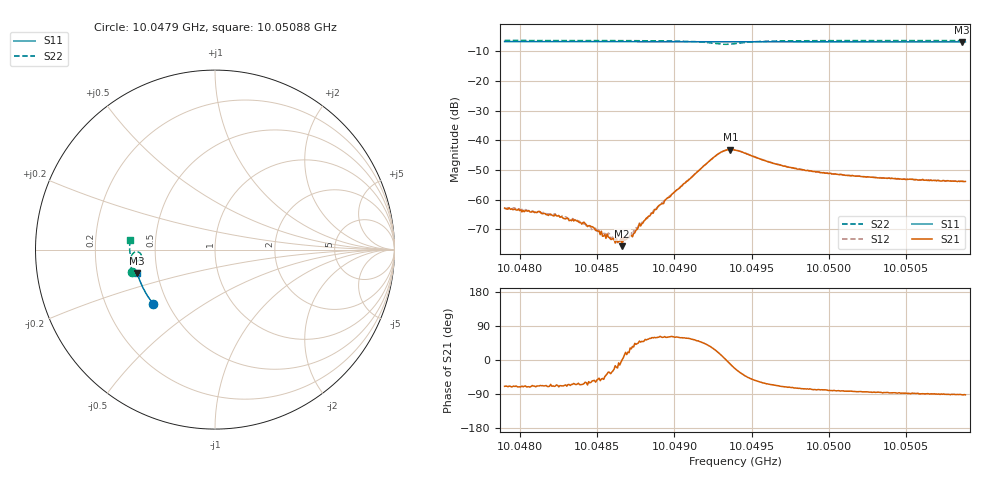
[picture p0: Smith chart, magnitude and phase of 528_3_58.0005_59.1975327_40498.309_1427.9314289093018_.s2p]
#  HZ  S  RI  R  50.00
! Rohde & Schwarz Vector Network Analyzer
! Rohde-Schwarz,ZNB20-2Port,1311601062101988,3.16
! Created: UTC 3/21/2024, 1:13:59 AM
! freq[Hz]  re:S11  im:S11  re:S21  im:S21  re:S12  im:S12  re:S22  im:S22
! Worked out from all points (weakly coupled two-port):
!   401 points, 10.0479 GHz to 10.05088 GHz, reference 50 ohm
!   highest |S21| = -43.12 dB at 10.04936 GHz (marker M1); lowest = -75.7 dB at 10.04866 GHz (marker M2)
!   lowest |S11| = -6.9 dB at 10.05086 GHz (marker M3), VSWR 2.65, Z = 19.2 - j6.32 ohm
!   |S11| at or under -10 dB: nowhere
!   |S22| runs from -7.7 to -6.4 dB; largest |S21 - S12| = 0.00049
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1.00479e10  -0.3436 -0.3016  0.000253 -0.000677  0.000301 -0.000629  -0.4614 -0.125
1.0047952e10  -0.3458 -0.299  0.000234 -0.000639  0.000281 -0.000657  -0.4621 -0.1215
1.0048161e10  -0.3545 -0.2882  0.000217 -0.000544  0.000214 -0.000564  -0.4653 -0.1071
1.0048288e10  -0.3594 -0.2816  0.000189 -0.000441  0.000223 -0.000461  -0.4668 -0.0979
1.00484e10  -0.3638 -0.2756  0.000165 -0.00035  0.000214 -0.000344  -0.4682 -0.0898
1.0048467e10  -0.3662 -0.272  0.0002 -0.000289  0.000183 -0.000245  -0.4687 -0.085
1.0048586e10  -0.3707 -0.2654  0.000176 -0.000129  0.000177 -0.000119  -0.4695 -0.0755
1.0048624e10  -0.3722 -0.2634  0.000211 -7.32e-05  0.000218 -7.93e-05  -0.4697 -0.0726
1.0048661e10  -0.3735 -0.2614  0.000165 1.13e-06  0.000221 2.47e-05  -0.4699 -0.0695
1.0048698e10  -0.3748 -0.2593  0.000219 8.33e-05  0.000214 7.84e-05  -0.47 -0.0664
1.0048736e10  -0.3762 -0.2572  0.000221 0.000151  0.000242 0.000174  -0.47 -0.0633
1.0048788e10  -0.3779 -0.2544  0.000254 0.000295  0.000236 0.000341  -0.4699 -0.0587
1.00489e10  -0.3819 -0.2482  0.00039 0.000695  0.000343 0.000704  -0.4689 -0.048
1.0049265e10  -0.3934 -0.2268  0.00485 0.00237  0.00473 0.00268  -0.4249 -0.0143
1.0049317e10  -0.3949 -0.224  0.00652 0.000804  0.00648 0.00119  -0.4116 -0.0282
1.0049362e10  -0.3962 -0.2218  0.00685 -0.00137  0.00694 -0.000892  -0.4117 -0.0467
1.0049392e10  -0.3971 -0.2202  0.00632 -0.00264  0.00649 -0.00224  -0.4181 -0.0563
1.0049653e10  -0.4052 -0.2051  0.00158 -0.00367  0.0018 -0.00361  -0.4661 -0.0429
1.0049892e10  -0.4117 -0.1908  0.000629 -0.00292  0.000828 -0.0029  -0.4736 -0.0185
1.0050392e10  -0.4237 -0.1603  0.000123 -0.00229  0.000297 -0.00229  -0.4755 0.0209
1.0050861e10  -0.4328 -0.1309  -6.7e-05 -0.00204  5.98e-05 -0.00203  -0.4728 0.0539
1.0050884e10  -0.4333 -0.1296  -6.61e-05 -0.00203  7.05e-05 -0.00202  -0.4727 0.0555
